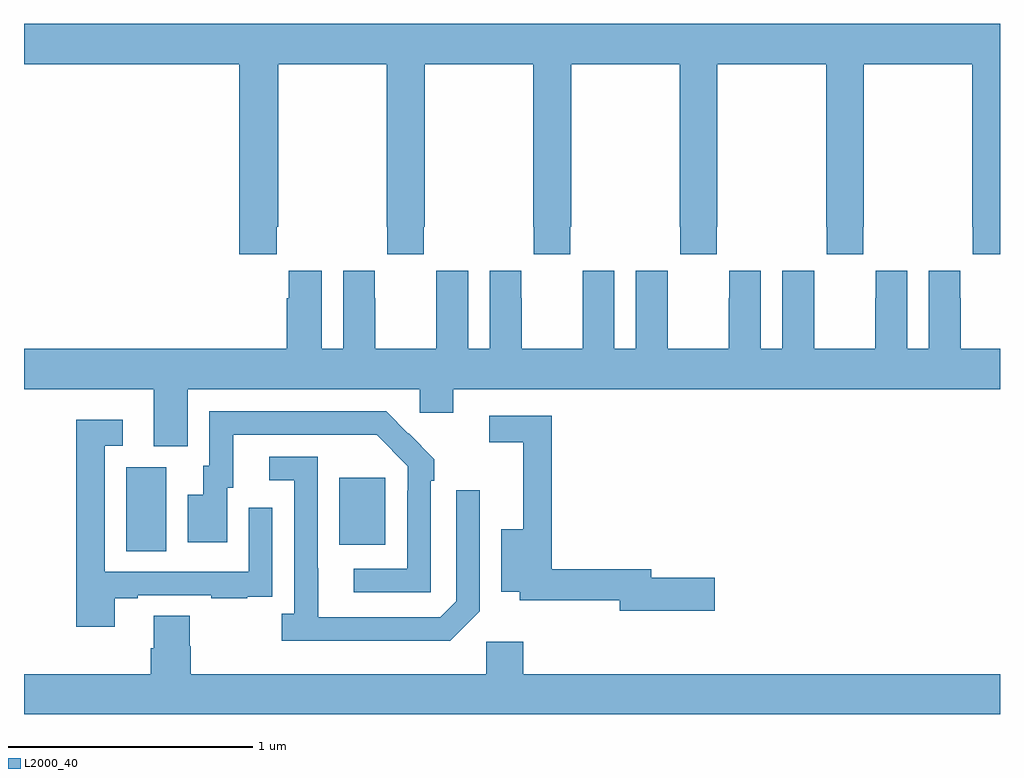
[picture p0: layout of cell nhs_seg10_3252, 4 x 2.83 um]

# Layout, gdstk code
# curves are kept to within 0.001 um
import gdstk
lib = gdstk.Library(unit=1e-6, precision=1e-09)
def R(c, l, rs):  # rectangles x0, y0, x1, y1
    for r in rs: c.add(gdstk.rectangle(r[:2], r[2:], *l))
def P(c, l, *ps):  # polygons
    for p in ps: c.add(gdstk.Polygon(p, *l))
L2000_40 = (2000, 40)

nhs_seg10_3252 = lib.new_cell('nhs_seg10_3252')
R(nhs_seg10_3252, L2000_40, [(287.42,1295.656,287.584,1296), (288.293,1295.681,288.481,1295.956)])
P(nhs_seg10_3252, L2000_40, [(288.035,1296.985),(288.042,1296.985),(288.042,1297.652),(288.487,1297.652),(288.487,1296.985),(288.489,1296.985),(288.489,1296.873),(288.639,1296.873),(288.639,1296.985),(288.642,1296.985),(288.642,1297.652),(289.087,1297.652),(289.087,1296.985),(289.089,1296.985),(289.089,1296.873),(289.239,1296.873),(289.239,1296.985),(289.242,1296.985),(289.242,1297.652),(289.687,1297.652),(289.687,1296.985),(289.689,1296.985),(289.689,1296.873),(289.839,1296.873),(289.839,1296.985),(289.842,1296.985),(289.842,1297.652),(290.287,1297.652),(290.287,1296.985),(290.289,1296.985),(290.289,1296.873),(290.439,1296.873),(290.439,1296.985),(290.442,1296.985),(290.442,1297.652),(290.887,1297.652),(290.887,1296.985),(290.889,1296.985),(290.889,1296.873),(291,1296.873),(291,1297.816),(287,1297.816),(287,1297.652),(287.882,1297.652),(287.882,1296.873),(288.035,1296.873)],
  [(287.671,1296.32),(288.621,1296.32),(288.621,1296.222),(288.76,1296.222),(288.76,1296.32),(291,1296.32),(291,1296.484),(290.839,1296.484),(290.839,1296.692),(290.838,1296.692),(290.838,1296.805),(290.708,1296.805),(290.708,1296.484),(290.62,1296.484),(290.62,1296.805),(290.49,1296.805),(290.49,1296.692),(290.489,1296.692),(290.489,1296.484),(290.239,1296.484),(290.239,1296.692),(290.238,1296.692),(290.238,1296.805),(290.108,1296.805),(290.108,1296.484),(290.02,1296.484),(290.02,1296.805),(289.89,1296.805),(289.89,1296.692),(289.889,1296.692),(289.889,1296.484),(289.639,1296.484),(289.639,1296.692),(289.638,1296.692),(289.638,1296.805),(289.508,1296.805),(289.508,1296.484),(289.42,1296.484),(289.42,1296.805),(289.29,1296.805),(289.29,1296.692),(289.289,1296.692),(289.289,1296.484),(289.039,1296.484),(289.039,1296.692),(289.038,1296.692),(289.038,1296.805),(288.908,1296.805),(288.908,1296.484),(288.82,1296.484),(288.82,1296.805),(288.69,1296.805),(288.69,1296.692),(288.689,1296.692),(288.689,1296.484),(288.439,1296.484),(288.439,1296.692),(288.438,1296.692),(288.438,1296.805),(288.308,1296.805),(288.308,1296.484),(288.22,1296.484),(288.22,1296.805),(288.086,1296.805),(288.086,1296.692),(288.077,1296.692),(288.077,1296.484),(287,1296.484),(287,1296.32),(287.531,1296.32),(287.531,1296.085),(287.671,1296.085)],
  [(288.666,1295.945),(288.681,1295.945),(288.681,1296.033),(288.484,1296.228),(287.76,1296.228),(287.76,1296.006),(287.735,1296.006),(287.735,1295.887),(287.672,1295.887),(287.672,1295.691),(287.833,1295.691),(287.833,1295.916),(287.857,1295.916),(287.857,1296.132),(288.445,1296.132),(288.573,1296.003),(288.573,1295.903),(288.57,1295.903),(288.57,1295.583),(288.351,1295.583),(288.351,1295.487),(288.666,1295.487)],
  [(289.831,1295.546),(289.57,1295.546),(289.57,1295.582),(289.163,1295.582),(289.163,1296.21),(288.906,1296.21),(288.906,1296.102),(289.046,1296.102),(289.046,1295.746),(288.956,1295.746),(288.956,1295.489),(289.032,1295.489),(289.032,1295.454),(289.442,1295.454),(289.442,1295.411),(289.831,1295.411)],
  [(287.371,1295.463),(287.467,1295.463),(287.467,1295.475),(287.767,1295.475),(287.767,1295.463),(287.915,1295.463),(287.915,1295.469),(288.017,1295.469),(288.017,1295.578),(288.018,1295.578),(288.018,1295.833),(287.922,1295.833),(287.922,1295.571),(287.331,1295.571),(287.331,1296.087),(287.404,1296.087),(287.404,1296.193),(287.215,1296.193),(287.215,1295.346),(287.371,1295.346)],
  [(288.867,1295.409),(288.867,1295.905),(288.771,1295.905),(288.771,1295.451),(288.705,1295.385),(288.205,1295.385),(288.204,1296.042),(288.006,1296.042),(288.006,1295.946),(288.108,1295.946),(288.108,1295.398),(288.057,1295.398),(288.057,1295.288),(288.746,1295.288)],
  [(291,1295.152),(289.046,1295.152),(289.046,1295.284),(288.894,1295.284),(288.894,1295.152),(287.684,1295.152),(287.684,1295.265),(287.679,1295.265),(287.679,1295.39),(287.531,1295.39),(287.531,1295.258),(287.519,1295.258),(287.519,1295.152),(287,1295.152),(287,1294.988),(291,1294.988)])

lib.write_gds('nhs_seg10_3252.gds')
